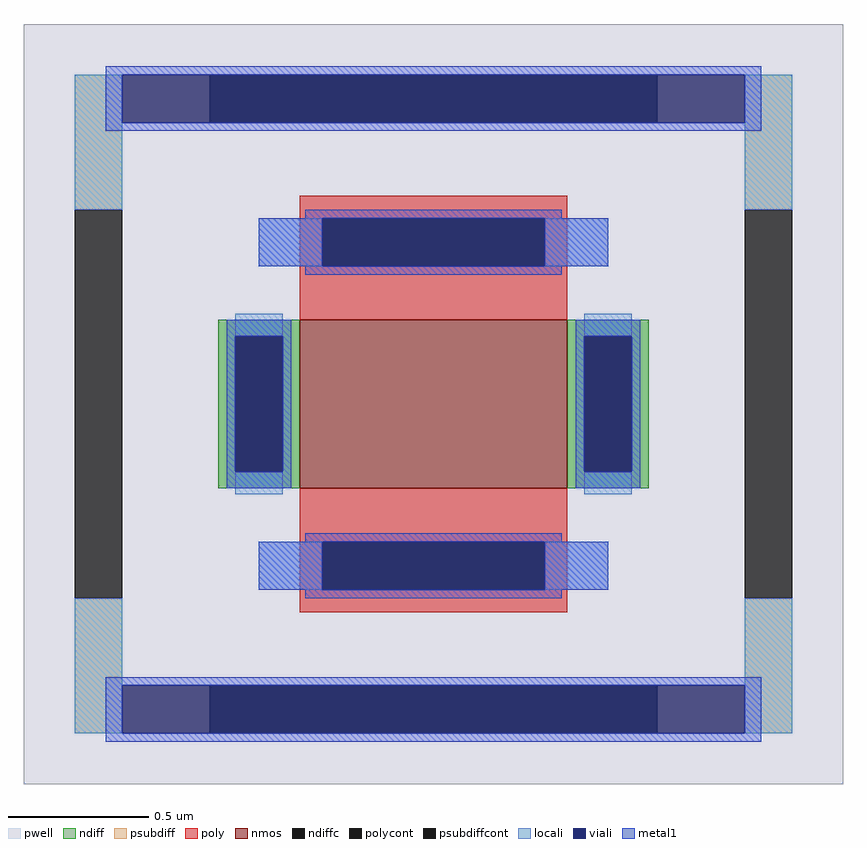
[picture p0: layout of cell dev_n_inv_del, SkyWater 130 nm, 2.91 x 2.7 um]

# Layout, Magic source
magic
tech sky130A
magscale 1 2
<< pwell >>
rect -291 -270 291 270
<< nmos >>
rect -95 -60 95 60
<< ndiff >>
rect -153 48 -95 60
rect -153 -48 -141 48
rect -107 -48 -95 48
rect -153 -60 -95 -48
rect 95 48 153 60
rect 95 -48 107 48
rect 141 -48 153 48
rect 95 -60 153 -48
<< ndiffc >>
rect -141 -48 -107 48
rect 107 -48 141 48
<< psubdiff >>
rect -255 200 -159 234
rect 159 200 255 234
rect -255 138 -221 200
rect 221 138 255 200
rect -255 -200 -221 -138
rect 221 -200 255 -138
rect -255 -234 -159 -200
rect 159 -234 255 -200
<< psubdiffcont >>
rect -159 200 159 234
rect -255 -138 -221 138
rect 221 -138 255 138
rect -159 -234 159 -200
<< poly >>
rect -95 132 95 148
rect -95 98 -79 132
rect 79 98 95 132
rect -95 60 95 98
rect -95 -98 95 -60
rect -95 -132 -79 -98
rect 79 -132 95 -98
rect -95 -148 95 -132
<< polycont >>
rect -79 98 79 132
rect -79 -132 79 -98
<< locali >>
rect -255 138 -221 234
rect 221 138 255 234
rect -124 98 -79 132
rect 79 98 124 132
rect -141 48 -107 64
rect -141 -64 -107 -48
rect 107 48 141 64
rect 107 -64 141 -48
rect -124 -132 -79 -98
rect 79 -132 124 -98
rect -255 -234 -221 -138
rect 221 -234 255 -138
<< viali >>
rect -221 200 -159 234
rect -159 200 159 234
rect 159 200 221 234
rect -79 98 79 132
rect -141 -48 -107 48
rect 107 -48 141 48
rect -79 -132 79 -98
rect -221 -234 -159 -200
rect -159 -234 159 -200
rect 159 -234 221 -200
<< metal1 >>
rect -233 234 233 240
rect -233 200 -221 234
rect 221 200 233 234
rect -233 194 233 200
rect -91 132 91 138
rect -124 98 -79 132
rect 79 98 124 132
rect -91 92 91 98
rect -147 48 -101 60
rect -147 -48 -141 48
rect -107 -48 -101 48
rect -147 -60 -101 -48
rect 101 48 147 60
rect 101 -48 107 48
rect 141 -48 147 48
rect 101 -60 147 -48
rect -91 -98 91 -92
rect -124 -132 -79 -98
rect 79 -132 124 -98
rect -91 -138 91 -132
rect -233 -200 233 -194
rect -233 -234 -221 -200
rect 221 -234 233 -200
rect -233 -240 233 -234
<< properties >>
string FIXED_BBOX -238 -217 238 217
<< end >>
